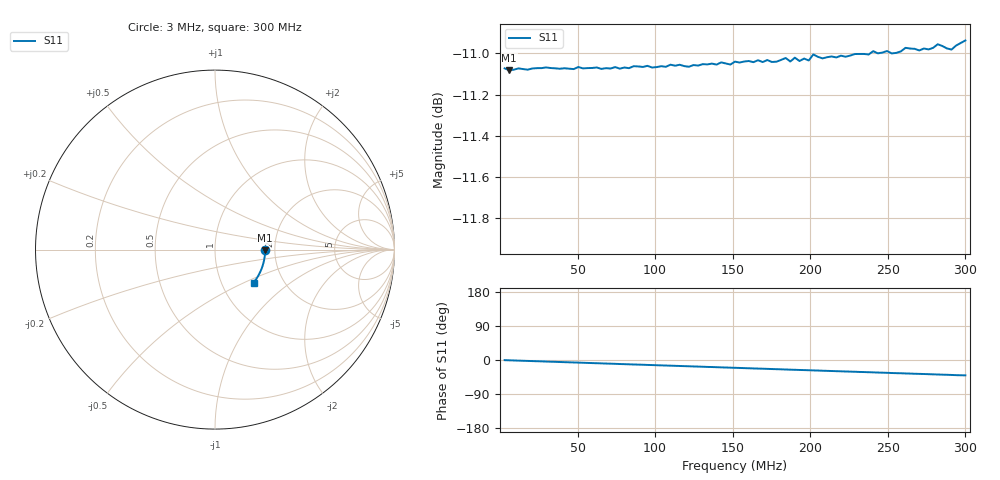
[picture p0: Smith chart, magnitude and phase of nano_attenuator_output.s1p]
!Created with skrf (http://scikit-rf.org).
# Hz S RI R 50.0
!freq ReS11 ImS11
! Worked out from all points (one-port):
!   101 points, 3 MHz to 300 MHz, reference 50 ohm
!   lowest |S11| = -11.1 dB at 5.97 MHz (marker M1), VSWR 1.77, Z = 88.7 - j0.788 ohm
!   |S11| at or under -10 dB: start of sweep to end of sweep
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3000000  0.2795 -0.00177
5970000  0.2792 -0.00409
4.161e7  0.2781 -0.0278
7.725e7  0.2747 -0.0514
1.1586e8  0.2695 -0.0761
1.218e8  0.2681 -0.0798
1.4259e8  0.2645 -0.0933
1.4853e8  0.2628 -0.0968
1.515e8  0.2626 -0.0986
1.7823e8  0.2559 -0.115
1.8417e8  0.2546 -0.1191
1.8714e8  0.2532 -0.1209
1.9011e8  0.253 -0.1227
1.9308e8  0.2516 -0.1243
1.9605e8  0.2512 -0.126
1.9902e8  0.25 -0.1276
2.0199e8  0.25 -0.1299
2.0793e8  0.2474 -0.1333
2.2575e8  0.2421 -0.1437
2.3763e8  0.2383 -0.1502
2.406e8  0.2376 -0.1523
2.5545e8  0.2318 -0.1605
2.6436e8  0.2291 -0.1654
2.7624e8  0.2243 -0.1716
2.8218e8  0.2225 -0.1753
2.9109e8  0.218 -0.1796
2.9406e8  0.2169 -0.1819
3e8  0.2156 -0.1847
